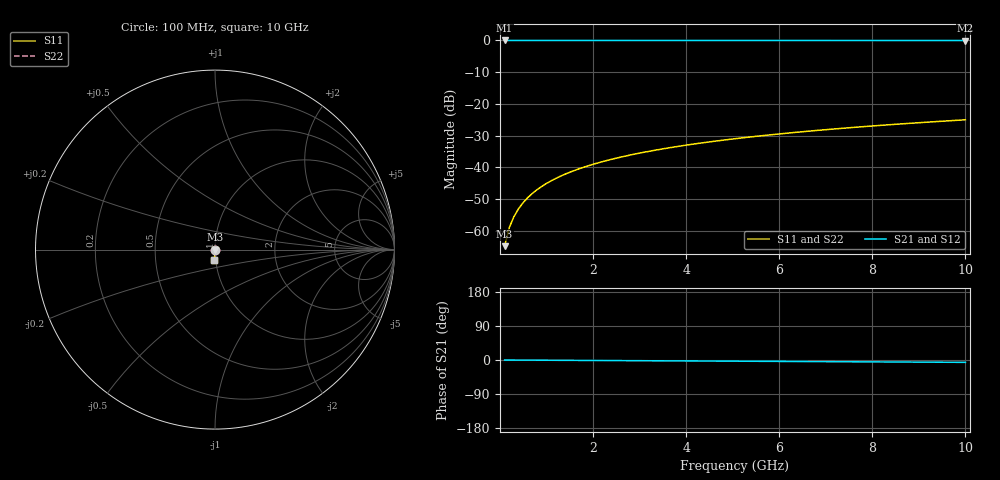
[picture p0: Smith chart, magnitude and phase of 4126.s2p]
# Hz S RI R 50.00
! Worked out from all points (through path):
!   100 points, 100 MHz to 10 GHz, reference 50 ohm
!   highest |S21| = 0.00 dB at 100 MHz (marker M1); lowest = 0.0 dB at 10 GHz (marker M2)
!   lowest |S11| = -64.8 dB at 100 MHz (marker M3), VSWR 1.00, Z = 50 - j0.0561 ohm
!   |S11| at or under -10 dB: start of sweep to end of sweep
!   |S22| runs from -64.8 to -25.0 dB; largest |S21 - S12| = 0
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1e8  0.000138 -0.000561  0.9999 -0.00108  0.9999 -0.00108  0.000138 -0.000561
2e8  0.000136 -0.00112  0.9999 -0.00215  0.9999 -0.00215  0.000136 -0.00112
3e8  0.000133 -0.00168  0.9998 -0.00323  0.9998 -0.00323  0.000133 -0.00168
4e8  0.000129 -0.00224  0.9998 -0.0043  0.9998 -0.0043  0.000129 -0.00224
5e8  0.000123 -0.0028  0.9998 -0.00538  0.9998 -0.00538  0.000123 -0.0028
6e8  0.000116 -0.00336  0.9998 -0.00646  0.9998 -0.00646  0.000116 -0.00336
7e8  0.000108 -0.00393  0.9998 -0.00753  0.9998 -0.00753  0.000108 -0.00393
8e8  9.81e-05 -0.00449  0.9998 -0.00861  0.9998 -0.00861  9.81e-05 -0.00449
9e8  8.74e-05 -0.00505  0.9998 -0.00968  0.9998 -0.00968  8.74e-05 -0.00505
1.1e9  6.24e-05 -0.00617  0.9998 -0.0118  0.9998 -0.0118  6.24e-05 -0.00617
1.4e9  1.56e-05 -0.00785  0.9997 -0.0151  0.9997 -0.0151  1.56e-05 -0.00785
1.8e9  -6.39e-05 -0.0101  0.9996 -0.0194  0.9996 -0.0194  -6.39e-05 -0.0101
2.1e9  -0.000136 -0.0118  0.9995 -0.0226  0.9995 -0.0226  -0.000136 -0.0118
2.5e9  -0.00025 -0.014  0.9994 -0.0269  0.9994 -0.0269  -0.00025 -0.014
2.9e9  -0.000383 -0.0163  0.9992 -0.0312  0.9992 -0.0312  -0.000383 -0.0163
3.4e9  -0.000577 -0.0191  0.999 -0.0366  0.999 -0.0366  -0.000577 -0.0191
4.2e9  -0.00095 -0.0236  0.9985 -0.0452  0.9985 -0.0452  -0.00095 -0.0236
5.1e9  -0.00146 -0.0286  0.9979 -0.0549  0.9979 -0.0549  -0.00146 -0.0286
5.9e9  -0.002 -0.0331  0.9972 -0.0636  0.9972 -0.0636  -0.002 -0.0331
6.7e9  -0.00262 -0.0376  0.9965 -0.0722  0.9965 -0.0722  -0.00262 -0.0376
8.4e9  -0.0042 -0.0471  0.9945 -0.0906  0.9945 -0.0906  -0.0042 -0.0471
1e10  -0.006 -0.056  0.9923 -0.1078  0.9923 -0.1078  -0.006 -0.056
